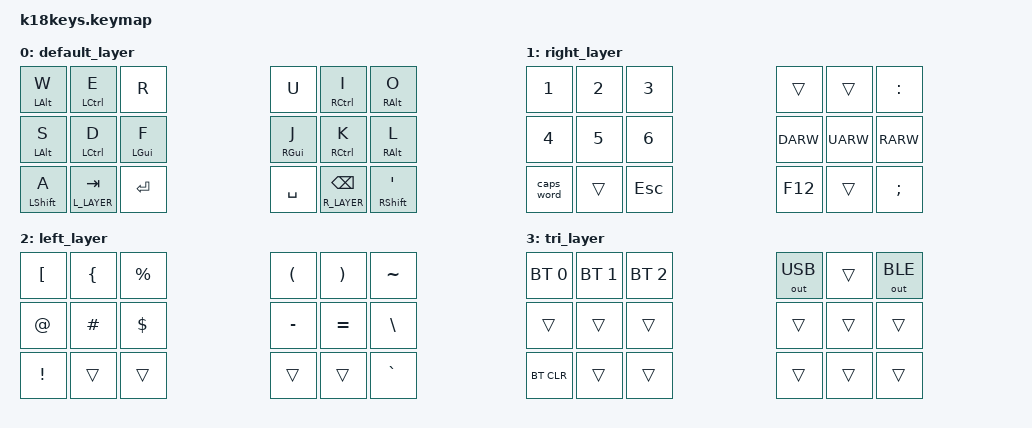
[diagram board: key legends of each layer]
/*
 * Copyright (c) 2020 The ZMK Contributors
 *
 * SPDX-License-Identifier: MIT
 */
 #include <behaviors.dtsi>
#include <dt-bindings/zmk/keys.h>
#include <dt-bindings/zmk/bt.h>
#include <dt-bindings/zmk/outputs.h>

#define DEFAULT_LAYER 0
#define R_LAYER 1
#define L_LAYER 2
#define T_LAYER 3

#define COMBO_TIMEOUT 50

#define THUMB_L_CLOSE 13
#define THUMB_L_FAR 14 
#define THUMB_R_CLOSE 16
#define THUMB_R_FAR 15

/ {
    behaviors {
        ht: hold_tap {
            compatible = "zmk,behavior-hold-tap";
            #binding-cells = <2>;
            flavor = "tap-preferred";
            tapping-term-ms = <220>;
            quick-tap-ms = <150>;
            require-prior-idle-ms = <100>;
            bindings = <&kp>, <&kp>;
        };
    };

    conditional_layers {
        compatible = "zmk,conditional-layers";
        tri_layer {
            if-layers = <L_LAYER R_LAYER>;
            then-layer = <T_LAYER>;
        };
    };
    combos {
        compatible = "zmk,combos";
        /*combo chars top row left*/
        combo_Q {
            timeout-ms = <COMBO_TIMEOUT>;
            key-positions = <0 1>;
            layers = <DEFAULT_LAYER>;
            bindings = <&kp Q>;
        };
        combo_T {
            timeout-ms = <COMBO_TIMEOUT>;
            key-positions = <1 2>;
            layers = <DEFAULT_LAYER>;
            bindings = <&kp T>;
        };

        /*combo chars top row right*/
        combo_P {
            timeout-ms = <COMBO_TIMEOUT>;
            key-positions = <4 5>;
            layers = <DEFAULT_LAYER>;
            bindings = <&kp P>;
        };
        combo_Y {
            timeout-ms = <COMBO_TIMEOUT>;
            key-positions = <3 4>;
            layers = <DEFAULT_LAYER>;
            bindings = <&kp Y>;
        };

        /*combo chars middle row left*/
        combo_G {
            timeout-ms = <COMBO_TIMEOUT>;
            key-positions = <7 8>;
            layers = <DEFAULT_LAYER>;
            bindings = <&kp G>;
        };
        /*combo chars middle row right*/
        combo_H {
            timeout-ms = <COMBO_TIMEOUT>;
            key-positions = <10 9>;
            layers = <DEFAULT_LAYER>;
            bindings = <&kp H>;
        };

        /*combo chars bottom row left*/
        combo_Z {
            timeout-ms = <COMBO_TIMEOUT>;
            key-positions = <12 THUMB_L_CLOSE>;
            layers = <DEFAULT_LAYER>;
            bindings = <&kp Z>;
        };
        combo_X {
            timeout-ms = <COMBO_TIMEOUT>;
            key-positions = <6 THUMB_L_CLOSE>;
            layers = <DEFAULT_LAYER>;
            bindings = <&kp X>;
        };
        combo_C {
            timeout-ms = <COMBO_TIMEOUT>;
            key-positions = <7 THUMB_L_CLOSE>;
            layers = <DEFAULT_LAYER>;
            bindings = <&kp C>;
        };
        combo_V {
            timeout-ms = <COMBO_TIMEOUT>;
            key-positions = <8 THUMB_L_CLOSE>;
            layers = <DEFAULT_LAYER>;
            bindings = <&kp V>;
        };
        combo_B {
            timeout-ms = <COMBO_TIMEOUT>;
            key-positions = <6 7>;
            layers = <DEFAULT_LAYER>;
            bindings = <&kp B>;
        };

        /*combo chars bottom row right*/
        combo_N {
            timeout-ms = <COMBO_TIMEOUT>;
            key-positions = <10 11>;
            layers = <DEFAULT_LAYER>;
            bindings = <&kp N>;
        };
        combo_M {
            timeout-ms = <COMBO_TIMEOUT>;
            key-positions = <9 THUMB_R_CLOSE>;
            layers = <DEFAULT_LAYER>;
            bindings = <&kp M>;
        };
        combo_COMMA {
            timeout-ms = <COMBO_TIMEOUT>;
            key-positions = <10 THUMB_R_CLOSE>;
            layers = <DEFAULT_LAYER>;
            bindings = <&kp COMMA>;
        };
        combo_DOT {
            timeout-ms = <COMBO_TIMEOUT>;
            key-positions = <11 THUMB_R_CLOSE>;
            layers = <DEFAULT_LAYER>;
            bindings = <&kp PERIOD>;
        };
        combo_SLASH {
            timeout-ms = <COMBO_TIMEOUT>;
            key-positions = <17 THUMB_R_CLOSE>;
            layers = <DEFAULT_LAYER>;
            bindings = <&kp SLASH>;
        };

        // combo r layer
        combo_N9 {
            timeout-ms = <COMBO_TIMEOUT>;
            key-positions = <0 1>;
            layers = <R_LAYER>;
            bindings = <&kp N9>;
        };
        combo_N7 {
            timeout-ms = <COMBO_TIMEOUT>;
            key-positions = <6 7>;
            layers = <R_LAYER>;
            bindings = <&kp N7>;
        };
        combo_N8 {
            timeout-ms = <COMBO_TIMEOUT>;
            key-positions = <8 7>;
            layers = <R_LAYER>;
            bindings = <&kp N8>;
        };
        combo_N0 {
            timeout-ms = <COMBO_TIMEOUT>;
            key-positions = <1 2>;
            layers = <R_LAYER>;
            bindings = <&kp N0>;
        };
        combo_LEFT_ARROW {
            timeout-ms = <COMBO_TIMEOUT>;
            key-positions = <9 10>;
            layers = <R_LAYER>;
            bindings = <&kp LARW>;
        };

        // right layer combo
        combo_ASTERISK {
            timeout-ms = <COMBO_TIMEOUT>;
            key-positions = <9 10>;
            layers = <L_LAYER>;
            bindings = <&kp ASTRK>;
        };
        combo_PIPE {
            timeout-ms = <COMBO_TIMEOUT>;
            key-positions = <11 THUMB_R_CLOSE>;
            layers = <L_LAYER>;
            bindings = <&kp PIPE>;
        };
        combo_PLUS {
            timeout-ms = <COMBO_TIMEOUT>;
            key-positions = <10 THUMB_R_CLOSE>;
            layers = <L_LAYER>;
            bindings = <&kp PLUS>;
        };
        combo_UNDER {
            timeout-ms = <COMBO_TIMEOUT>;
            key-positions = <9 THUMB_R_CLOSE>;
            layers = <L_LAYER>;
            bindings = <&kp UNDER>;
        };
        combo_AND {
            timeout-ms = <COMBO_TIMEOUT>;
            key-positions = <9 10 THUMB_R_CLOSE>;
            layers = <L_LAYER>;
            bindings = <&kp AMPS>;
        };
        combo_CLOSE_SQUARE_BRACKET {
            timeout-ms = <COMBO_TIMEOUT>;
            key-positions = <0 1>;
            layers = <L_LAYER>;
            bindings = <&kp RBKT>;
        };
        combo_CLOSE_CURLY_BRACKET {
            timeout-ms = <COMBO_TIMEOUT>;
            key-positions = <1 2>;
            layers = <L_LAYER>;
            bindings = <&kp RBRC>;
        };
        combo_CARET {
            timeout-ms = <COMBO_TIMEOUT>;
            key-positions = <3 4>;
            layers = <L_LAYER>;
            bindings = <&kp CARET>;
        };

    };

    keymap {
        compatible = "zmk,keymap";
        default_layer {
            bindings = <
                        &ht LALT W   &ht LCTRL E   &kp R                                                                 &kp U        &ht RCTRL I   &ht RALT O      
                        &ht LALT S   &ht LCTRL D   &ht LGUI F                                                            &ht RGUI J   &ht RCTRL K   &ht RALT L           
            &ht LSHFT A                                       &lt L_LAYER TAB   &kp ENTER    &kp SPACE   &lt R_LAYER BSPC                                     &ht RSHFT SINGLE_QUOTE 
            >;
        };

        right_layer {
            bindings = <
                        &kp N1       &kp N2        &kp N3                                                                &trans       &trans        &kp COLON       
                        &kp N4       &kp N5        &kp N6                                                                &kp DARW     &kp UARW      &kp RARW             
            &caps_word                                        &trans            &kp ESC      &kp F12     &trans                                               &kp SEMI               
            >;
        };
        left_layer {
            bindings = <
                        &kp LBKT      &kp LBRC      &kp PRCNT                                                             &kp LPAR     &kp RPAR      &kp TILDE       
                        &kp AT        &kp HASH      &kp DLLR                                                              &kp MINUS    &kp EQUAL     &kp BSLH             
            &kp EXCL                                          &trans            &trans       &trans      &trans                                               &kp GRAVE              
            >;
        };
        tri_layer {
            bindings = <
                        &bt BT_SEL 0 &bt BT_SEL 1  &bt BT_SEL 2                                                          &out OUT_USB &trans        &out OUT_BLE    
                        &trans       &trans        &trans                                                                &trans       &trans        &trans               
            &bt BT_CLR                                        &trans            &trans       &trans      &trans                                               &trans                 
            >;
        };
    };
};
